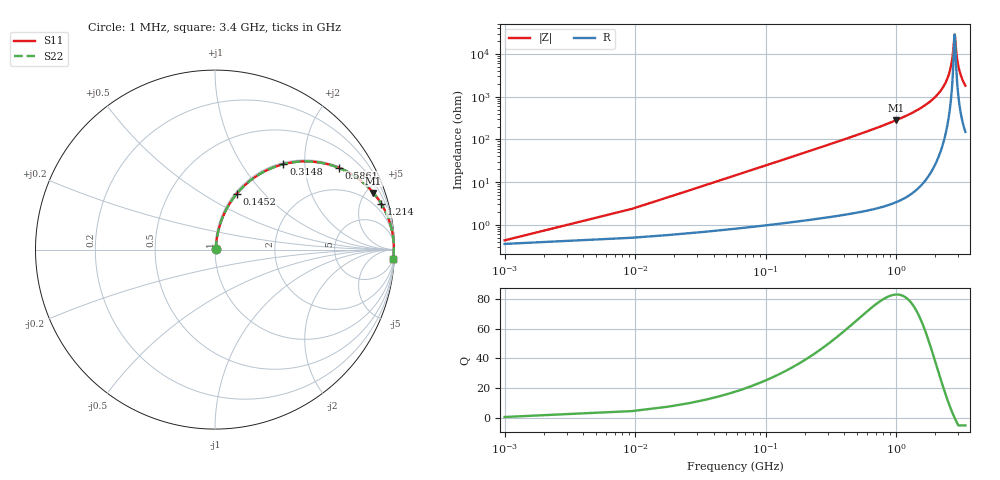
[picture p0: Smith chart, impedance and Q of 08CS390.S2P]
! Coilcraft 0805CS-390 Chip Inductor
! 11 June 2002
# MHZ S MA R 50
!Freq  MagS11  AngS11  MagS21  AngS21  MagS12  AngS12  MagS22  AngS22
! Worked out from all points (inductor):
!   402 points, 1 MHz to 3.4 GHz, reference 50 ohm
!   read as one part in series: L = 39 nH near 17.96 MHz
!   highest Q = 82.9 at 993.2 MHz (marker M1), where L = 44.5 nH
!   self-resonance near 2.808 GHz
!   S11 on the Smith chart (normalised r, x): 1 MHz: 1.01, +0.00; 145.2 MHz: 1.02, +0.71; 314.8 MHz: 1.03, +1.56; 586.1 MHz: 1.04, +3.00; 1.214 GHz: 1.09, +7.31; 3.4 GHz: 4, -36
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1  0.004324 34.2  0.9964 -0.1  0.9964 -0.1  0.004324 34.2
26.44  0.06456 80.7  0.9916 -3.7  0.9916 -3.7  0.06456 80.7
43.4  0.1053 80.0  0.9872 -6.0  0.9872 -6.0  0.1053 80.0
85.8  0.2043 75.7  0.97 -11.8  0.97 -11.8  0.2043 75.7
145.16  0.3328 68.8  0.9327 -19.4  0.9327 -19.4  0.3328 68.8
314.76  0.6099 51.3  0.7806 -37.6  0.7806 -37.6  0.6099 51.3
569.16  0.8186 34.2  0.5628 -54.9  0.5628 -54.9  0.8186 34.2
586.12  0.8269 33.4  0.5507 -55.8  0.5507 -55.8  0.8269 33.4
993.16  0.9374 19.7  0.3372 -69.6  0.3372 -69.6  0.9374 19.7
1137.32  0.9546 16.7  0.2866 -72.6  0.2866 -72.6  0.9546 16.7
1213.64  0.9615 15.3  0.2632 -74.0  0.2632 -74.0  0.9615 15.3
1705.48  0.9861 8.6  0.1493 -80.4  0.1493 -80.4  0.9861 8.6
2273.64  0.9952 3.6  0.06213 -83.8  0.06213 -83.8  0.9952 3.6
2595.88  0.9966 1.3  0.02363 -80.9  0.02363 -80.9  0.9966 1.3
2706.12  0.9966 0.7  0.01185 -73.1  0.01185 -73.1  0.9966 0.7
2799.4  0.9965 0.1  0.003804 -24.6  0.003804 -24.6  0.9965 0.1
2816.36  0.9965 -0.0  0.003486 2.6  0.003486 2.6  0.9965 -0.0
2841.8  0.9965 -0.2  0.004471 37.9  0.004471 37.9  0.9965 -0.2
2918.12  0.9963 -0.6  0.01103 70.1  0.01103 70.1  0.9963 -0.6
3028.36  0.9959 -1.2  0.02147 78.5  0.02147 78.5  0.9959 -1.2
3189.48  0.9952 -2.1  0.03637 81.4  0.03637 81.4  0.9952 -2.1
3400  0.994 -3.1  0.05491 82.1  0.05491 82.1  0.994 -3.1
